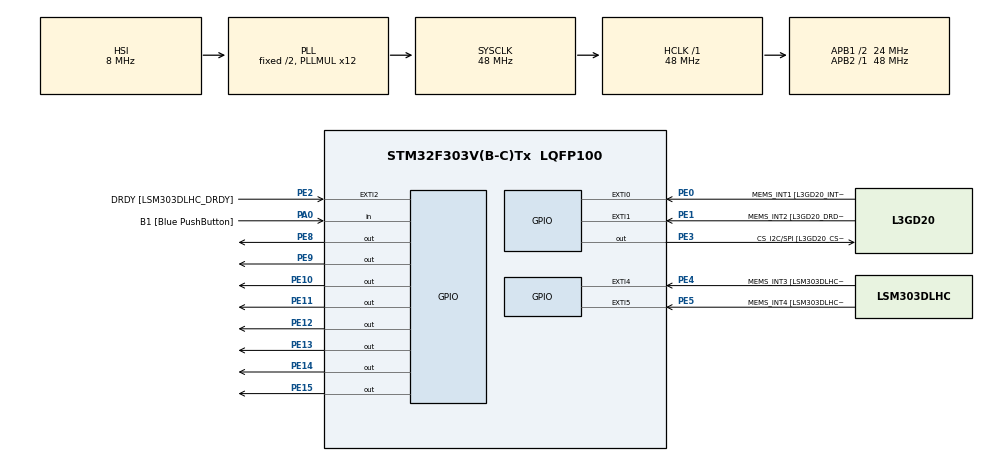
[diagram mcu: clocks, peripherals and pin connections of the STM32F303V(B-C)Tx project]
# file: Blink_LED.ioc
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Mcu.Family=STM32F3
Mcu.Name=STM32F303V(B-C)Tx
Mcu.Package=LQFP100
NVIC.PriorityGroup=NVIC_PRIORITYGROUP_0
PA0.GPIO_Label=B1 [Blue PushButton]
PA0.GPIO_Mode=GPIO_MODE_INPUT
PA0.GPIO_PuPd=GPIO_NOPULL
PA0.Signal=GPIO_Input
PA11.GPIO_Label=DM
PA11.Signal=USB_DM
PA12.GPIO_Label=DP
PA12.Signal=USB_DP
PA13.GPIO_Label=SWDIO
PA13.Signal=SYS_JTMS-SWDIO
PA14.GPIO_Label=SWCLK
PA14.Signal=SYS_JTCK-SWCLK
PA5.GPIO_Label=SPI1_SCK [L3GD20_SCL/SPC]
PA5.GPIO_Mode=GPIO_MODE_AF_PP
PA5.GPIO_PuPd=GPIO_NOPULL
PA5.GPIO_Speed=GPIO_SPEED_FREQ_LOW
PA5.Signal=SPI1_SCK
PA6.GPIO_Label=SPI1_MISO [L3GD20_SA0/SDO]
PA6.GPIO_Mode=GPIO_MODE_AF_PP
PA6.GPIO_PuPd=GPIO_NOPULL
PA6.GPIO_Speed=GPIO_SPEED_FREQ_LOW
PA6.Signal=SPI1_MISO
PA7.GPIO_Label=SPI1_MISO [L3GD20_SDA/SDI/SDO]
PA7.GPIO_Mode=GPIO_MODE_AF_PP
PA7.GPIO_PuPd=GPIO_NOPULL
PA7.GPIO_Speed=GPIO_SPEED_FREQ_LOW
PA7.Signal=SPI1_MOSI
PB3.GPIO_Label=SWO
PB3.Signal=SYS_JTDO-TRACESWO
PB6.GPIO_FM6=__NULL
PB6.GPIO_Label=I2C1_SCL [LSM303DLHC_SCL]
PB6.GPIO_Mode=GPIO_MODE_AF_OD
PB6.GPIO_PuPd=GPIO_NOPULL
PB6.GPIO_Speed=GPIO_SPEED_FREQ_LOW
PB6.Signal=I2C1_SCL
PB7.GPIO_FM7=__NULL
PB7.GPIO_Label=I2C1_SDA [LSM303DLHC_SDA]
PB7.GPIO_Mode=GPIO_MODE_AF_OD
PB7.GPIO_PuPd=GPIO_NOPULL
PB7.GPIO_Speed=GPIO_SPEED_FREQ_LOW
PB7.Signal=I2C1_SDA
PC14-OSC32_IN.GPIO_Label=OSC32_IN
PC14-OSC32_IN.Signal=RCC_OSC32_IN
PC15-OSC32_OUT.GPIO_Label=OSC32_OUT
PC15-OSC32_OUT.Signal=RCC_OSC32_OUT
PE0.GPIO_Label=MEMS_INT1 [L3GD20_INT1]
PE0.GPIO_ModeDefaultEXTI=GPIO_MODE_EVT_RISING
PE0.GPIO_PuPd=GPIO_NOPULL
PE0.Signal=GPXTI0
PE1.GPIO_Label=MEMS_INT2 [L3GD20_DRDY/INT2]
PE1.GPIO_ModeDefaultEXTI=GPIO_MODE_EVT_RISING
PE1.GPIO_PuPd=GPIO_NOPULL
PE1.Signal=GPXTI1
PE10.Signal=GPIO_Output
PE11.Signal=GPIO_Output
PE12.Signal=GPIO_Output
PE13.Signal=GPIO_Output
PE14.Signal=GPIO_Output
PE15.Signal=GPIO_Output
PE2.GPIO_Label=DRDY [LSM303DLHC_DRDY]
PE2.GPIO_ModeDefaultEXTI=GPIO_MODE_EVT_RISING
PE2.GPIO_PuPd=GPIO_NOPULL
PE2.Signal=GPXTI2
PE3.GPIO_Label=CS_I2C/SPI [L3GD20_CS_I2C/SPI]
PE3.GPIO_ModeDefaultOutputPP=GPIO_MODE_OUTPUT_PP
PE3.GPIO_PuPd=GPIO_NOPULL
PE3.GPIO_Speed=GPIO_SPEED_FREQ_LOW
PE3.Signal=GPIO_Output
PE4.GPIO_Label=MEMS_INT3 [LSM303DLHC_INT1]
PE4.GPIO_ModeDefaultEXTI=GPIO_MODE_EVT_RISING
PE4.GPIO_PuPd=GPIO_NOPULL
PE4.Signal=GPXTI4
PE5.GPIO_Label=MEMS_INT4 [LSM303DLHC_INT2]
PE5.GPIO_ModeDefaultEXTI=GPIO_MODE_EVT_RISING
PE5.GPIO_PuPd=GPIO_NOPULL
PE5.Signal=GPXTI5
PE8.Signal=GPIO_Output
PE9.Signal=GPIO_Output
PF0-OSC_IN.GPIO_Label=OSC_IN
PF0-OSC_IN.Signal=RCC_OSC_IN
PF1-OSC_OUT.GPIO_Label=OSC_OUT
PF1-OSC_OUT.Signal=RCC_OSC_OUT
ProjectManager.HeapSize=0x200
ProjectManager.StackSize=0x400
ProjectManager.TargetToolchain=STM32CubeIDE
RCC.AHBFreq_Value=48000000
RCC.APB1CLKDivider=RCC_HCLK_DIV2
RCC.APB1Freq_Value=24000000
RCC.APB1TimFreq_Value=48000000
RCC.APB2Freq_Value=48000000
RCC.APB2TimFreq_Value=48000000
RCC.CortexFreq_Value=48000000
RCC.HCLKFreq_Value=48000000
RCC.HSE_VALUE=8000000
RCC.HSI_VALUE=8000000
RCC.LSE_VALUE=32768
RCC.PLLMUL=RCC_PLL_MUL12
RCC.SYSCLKFreq_VALUE=48000000
RCC.SYSCLKSourceVirtual=RCC_SYSCLKSOURCE_PLLCLK
RCC.USBFreq_Value=48000000
board=STM32F3DISCOVERY

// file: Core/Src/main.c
/* USER CODE BEGIN Header */
/**
  ******************************************************************************
  * @file           : main.c
  * @brief          : Main program body
  ******************************************************************************
  * @attention
  *
  * Copyright (c) 2025 STMicroelectronics.
  * All rights reserved.
  *
  * This software is licensed under terms that can be found in the LICENSE file
  * in the root directory of this software component.
  * If no LICENSE file comes with this software, it is provided AS-IS.
  *
  ******************************************************************************
  */
/* USER CODE END Header */
#include "main.h"

void SystemClock_Config(void);
static void MX_GPIO_Init(void);

/* USER CODE BEGIN 0 */

static const uint16_t LED_PINS[8] = {

		  GPIO_PIN_9, // LD3 red
		  GPIO_PIN_10, // LD5 orange
		  GPIO_PIN_11, // LD7 green
		  GPIO_PIN_12, // LD9 blue
		  GPIO_PIN_13, // LD10 red
		  GPIO_PIN_14, // LD8 orange
		  GPIO_PIN_15, // LD6 green
		  GPIO_PIN_8, // LD4 blue
};

/* USER CODE END 0 */

int main(void)
{

  /* MCU Configuration--------------------------------------------------------*/

  /* Reset of all peripherals, Initializes the Flash interface and the Systick. */
  HAL_Init();

  /* Configure the system clock */
  SystemClock_Config();

  /* Initialize all configured peripherals */
  MX_GPIO_Init();

  /* USER CODE BEGIN 2 */

  for (int i = 0; i < 8; i++){
	  HAL_GPIO_WritePin(GPIOE, LED_PINS[i], GPIO_PIN_RESET);
  }

  /* USER CODE END 2 */

  /* Infinite loop */
  /* USER CODE BEGIN WHILE */

  uint8_t counter = 0;
  while (1)
  {
//	  HAL_GPIO_TogglePin(GPIOE, GPIO_PIN_12); // blue
//	  HAL_GPIO_TogglePin(GPIOE, GPIO_PIN_8); // blue
//	  HAL_Delay(1000);

//	   //blink a single LED
//	  HAL_GPIO_TogglePin(GPIOE, LED_PINS[0]);
//	  HAL_Delay(500);
//	  HAL_GPIO_TogglePin(GPIOE, LED_PINS[0]);
//	  HAL_GPIO_TogglePin(GPIOE, LED_PINS[2]);
//	  HAL_Delay(500);
//	  HAL_GPIO_TogglePin(GPIOE, LED_PINS[2]);
//	  HAL_GPIO_TogglePin(GPIOE, LED_PINS[4]);
//	  HAL_Delay(500);
//	  HAL_GPIO_TogglePin(GPIOE, LED_PINS[4]);
//	  HAL_GPIO_TogglePin(GPIOE, LED_PINS[6]);
//	  HAL_Delay(500);
//	  HAL_GPIO_TogglePin(GPIOE, LED_PINS[6]);

//	  // blick all leds with different delays
//	  for(int i = 0; i < 8; i++){
//		  HAL_GPIO_TogglePin(GPIOE, LED_PINS[i]);
//		  HAL_Delay((i+1)*500);
//		  HAL_GPIO_TogglePin(GPIOE, LED_PINS[i]);
//	  }
//	  // blink all the led at the same time
//	  for(int i = 0 ; i < 8; i++){
//		  HAL_GPIO_WritePin(GPIOE, LED_PINS[i], GPIO_PIN_SET);
//		  if(i % 2 == 0){
//			  HAL_Delay(500);
//		  } else {
//			  HAL_Delay(1000);
//		  }
//		  HAL_GPIO_WritePin(GPIOE, LED_PINS[i], GPIO_PIN_RESET);
//	  }

//	  // the knight rider effect
//
//	  for(int i = 0; i < 8; i++){
//		  HAL_GPIO_WritePin(GPIOE, LED_PINS[i], GPIO_PIN_SET);
//		  HAL_Delay(100);
//		  HAL_GPIO_WritePin(GPIOE, LED_PINS[i], GPIO_PIN_RESET);
//	  }
//
//	  for(int i = 7; i > 0; i--){
//	  		  HAL_GPIO_WritePin(GPIOE, LED_PINS[i], GPIO_PIN_SET);
//	  		  HAL_Delay(100);
//	  		  HAL_GPIO_WritePin(GPIOE, LED_PINS[i], GPIO_PIN_RESET);
//	  	  }
//

//	  //Binary counter
//
//	  for(int i = 0; i < 8; i++){
//		  if(counter & (1 << i)){
//			  HAL_GPIO_WritePin(GPIOE, LED_PINS[i], GPIO_PIN_SET);
//		  } else{
//			  HAL_GPIO_WritePin(GPIOE, LED_PINS[i], GPIO_PIN_RESET);
//		  }
//	  }
//
//	  HAL_Delay(500);
//	  counter++;

	  //Binary counter on button press
	  if(HAL_GPIO_ReadPin(B1_GPIO_Port, B1_Pin) == GPIO_PIN_SET){
		  HAL_Delay(50);

		  while(HAL_GPIO_ReadPin(B1_GPIO_Port, B1_Pin) == GPIO_PIN_SET);

		  counter++;
	  }

	  	  for(int i = 0; i < 8; i++){
	  		  if(counter & (1 << i)){
	  			  HAL_GPIO_WritePin(GPIOE, LED_PINS[i], GPIO_PIN_SET);
	  		  } else{
	  			  HAL_GPIO_WritePin(GPIOE, LED_PINS[i], GPIO_PIN_RESET);
	  		  }
	  	  }

	  //
//	  for (int i = 0; i < 8; i++){
//		  HAL_GPIO_WritePin(GPIOE,LED_PINS[i], GPIO_PIN_SET); // led on
//		  HAL_Delay(1000);
//		  HAL_GPIO_WritePin(GPIOE, LED_PINS[i], GPIO_PIN_RESET); // led off
//	  }

    /* USER CODE END WHILE */

  }
}

void SystemClock_Config(void)
{
  RCC_OscInitTypeDef RCC_OscInitStruct = {0};
  RCC_ClkInitTypeDef RCC_ClkInitStruct = {0};

  /** Initializes the RCC Oscillators according to the specified parameters
  * in the RCC_OscInitTypeDef structure.
  */
  RCC_OscInitStruct.OscillatorType = RCC_OSCILLATORTYPE_HSI;
  RCC_OscInitStruct.HSIState = RCC_HSI_ON;
  RCC_OscInitStruct.HSICalibrationValue = RCC_HSICALIBRATION_DEFAULT;
  RCC_OscInitStruct.PLL.PLLState = RCC_PLL_ON;
  RCC_OscInitStruct.PLL.PLLSource = RCC_PLLSOURCE_HSI;
  RCC_OscInitStruct.PLL.PLLMUL = RCC_PLL_MUL12;
  if (HAL_RCC_OscConfig(&RCC_OscInitStruct) != HAL_OK)
  {
    Error_Handler();
  }

  /** Initializes the CPU, AHB and APB buses clocks
  */
  RCC_ClkInitStruct.ClockType = RCC_CLOCKTYPE_HCLK|RCC_CLOCKTYPE_SYSCLK
                              |RCC_CLOCKTYPE_PCLK1|RCC_CLOCKTYPE_PCLK2;
  RCC_ClkInitStruct.SYSCLKSource = RCC_SYSCLKSOURCE_PLLCLK;
  RCC_ClkInitStruct.AHBCLKDivider = RCC_SYSCLK_DIV1;
  RCC_ClkInitStruct.APB1CLKDivider = RCC_HCLK_DIV2;
  RCC_ClkInitStruct.APB2CLKDivider = RCC_HCLK_DIV1;

  if (HAL_RCC_ClockConfig(&RCC_ClkInitStruct, FLASH_LATENCY_1) != HAL_OK)
  {
    Error_Handler();
  }
}

static void MX_GPIO_Init(void)
{
  GPIO_InitTypeDef GPIO_InitStruct = {0};

  /* GPIO Ports Clock Enable */
  __HAL_RCC_GPIOE_CLK_ENABLE();
  __HAL_RCC_GPIOC_CLK_ENABLE();
  __HAL_RCC_GPIOF_CLK_ENABLE();
  __HAL_RCC_GPIOA_CLK_ENABLE();
  __HAL_RCC_GPIOB_CLK_ENABLE();

  /*Configure GPIO pin Output Level */
  HAL_GPIO_WritePin(GPIOE, CS_I2C_SPI_Pin|GPIO_PIN_8|GPIO_PIN_9|GPIO_PIN_10
                          |GPIO_PIN_11|GPIO_PIN_12|GPIO_PIN_13|GPIO_PIN_14
                          |GPIO_PIN_15, GPIO_PIN_RESET);

  /*Configure GPIO pins : DRDY_Pin MEMS_INT3_Pin MEMS_INT4_Pin MEMS_INT1_Pin
                           MEMS_INT2_Pin */
  GPIO_InitStruct.Pin = DRDY_Pin|MEMS_INT3_Pin|MEMS_INT4_Pin|MEMS_INT1_Pin
                          |MEMS_INT2_Pin;
  GPIO_InitStruct.Mode = GPIO_MODE_EVT_RISING;
  GPIO_InitStruct.Pull = GPIO_NOPULL;
  HAL_GPIO_Init(GPIOE, &GPIO_InitStruct);

  /*Configure GPIO pins : CS_I2C_SPI_Pin PE8 PE9 PE10
                           PE11 PE12 PE13 PE14
                           PE15 */
  GPIO_InitStruct.Pin = CS_I2C_SPI_Pin|GPIO_PIN_8|GPIO_PIN_9|GPIO_PIN_10
                          |GPIO_PIN_11|GPIO_PIN_12|GPIO_PIN_13|GPIO_PIN_14
                          |GPIO_PIN_15;
  GPIO_InitStruct.Mode = GPIO_MODE_OUTPUT_PP;
  GPIO_InitStruct.Pull = GPIO_NOPULL;
  GPIO_InitStruct.Speed = GPIO_SPEED_FREQ_LOW;
  HAL_GPIO_Init(GPIOE, &GPIO_InitStruct);

  /*Configure GPIO pin : B1_Pin */
  GPIO_InitStruct.Pin = B1_Pin;
  GPIO_InitStruct.Mode = GPIO_MODE_INPUT;
  GPIO_InitStruct.Pull = GPIO_NOPULL;
  HAL_GPIO_Init(B1_GPIO_Port, &GPIO_InitStruct);

  /*Configure GPIO pins : SPI1_SCK_Pin SPI1_MISO_Pin SPI1_MISOA7_Pin */
  GPIO_InitStruct.Pin = SPI1_SCK_Pin|SPI1_MISO_Pin|SPI1_MISOA7_Pin;
  GPIO_InitStruct.Mode = GPIO_MODE_AF_PP;
  GPIO_InitStruct.Pull = GPIO_NOPULL;
  GPIO_InitStruct.Speed = GPIO_SPEED_FREQ_LOW;
  GPIO_InitStruct.Alternate = GPIO_AF5_SPI1;
  HAL_GPIO_Init(GPIOA, &GPIO_InitStruct);

  /*Configure GPIO pins : DM_Pin DP_Pin */
  GPIO_InitStruct.Pin = DM_Pin|DP_Pin;
  GPIO_InitStruct.Mode = GPIO_MODE_AF_PP;
  GPIO_InitStruct.Pull = GPIO_NOPULL;
  GPIO_InitStruct.Speed = GPIO_SPEED_FREQ_HIGH;
  GPIO_InitStruct.Alternate = GPIO_AF14_USB;
  HAL_GPIO_Init(GPIOA, &GPIO_InitStruct);

  /*Configure GPIO pins : I2C1_SCL_Pin I2C1_SDA_Pin */
  GPIO_InitStruct.Pin = I2C1_SCL_Pin|I2C1_SDA_Pin;
  GPIO_InitStruct.Mode = GPIO_MODE_AF_OD;
  GPIO_InitStruct.Pull = GPIO_NOPULL;
  GPIO_InitStruct.Speed = GPIO_SPEED_FREQ_LOW;
  GPIO_InitStruct.Alternate = GPIO_AF4_I2C1;
  HAL_GPIO_Init(GPIOB, &GPIO_InitStruct);

}

void Error_Handler(void)
{
  __disable_irq();
  while (1)
  {
  }
}
